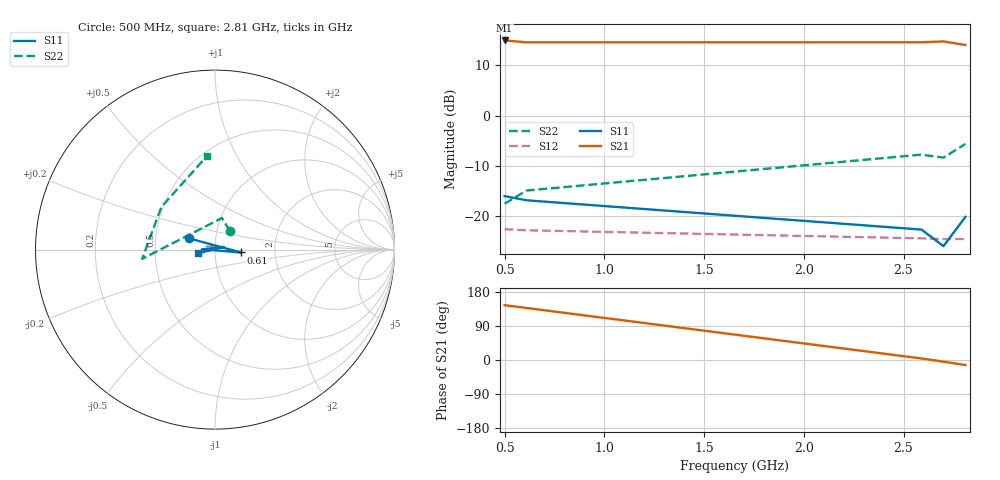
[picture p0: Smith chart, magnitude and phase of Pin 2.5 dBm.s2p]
! RsaToolbox (C) 2015 Rohde & Schwarz America
! Number of points: 5
! Number of ports: 2
! Balanced ports?: No
# Hz S RI R 50
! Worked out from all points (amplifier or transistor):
!   5 points, 500 MHz to 2.81 GHz, reference 50 ohm
!   highest |S21| = 14.9 dB at 500 MHz (marker M1)
!   |S21| within 3 dB of that: start of sweep to end of sweep
!   unconditionally stable (mu >= 1): start of sweep to end of sweep
!   at 500 MHz: K = 1.37, MAG = 15.1 dB, |S12| = -22.6 dB
!   at 2.59 GHz: K = 1.48, MAG = 15.4 dB, |S12| = -24.4 dB
!   at 2.81 GHz: K = 1.39, MAG = 15.6 dB, |S12| = -24.5 dB
!   S11 on the Smith chart (normalised r, x): 500 MHz: 0.74, +0.10; 610 MHz: 1.33, -0.04; 2.81 GHz: 0.82, -0.03
5e8  -0.1452 0.0627  -4.539 3.234  0.0645 -0.0368  0.0825 0.1044
6.1e8  0.143 -0.0156  -3.923 3.62  0.0583 -0.043  0.0385 0.1757
2.59e9  -0.0736 0.00142  5.335 0.3755  -0.0602 -0.000588  -0.4058 -0.0514
2.7e9  0.048 0.0152  5.435 -0.4175  -0.055 -0.0221  -0.2982 0.2385
2.81e9  -0.0961 -0.0209  4.891 -1.157  -0.0588 0.00713  -0.0462 0.5193
